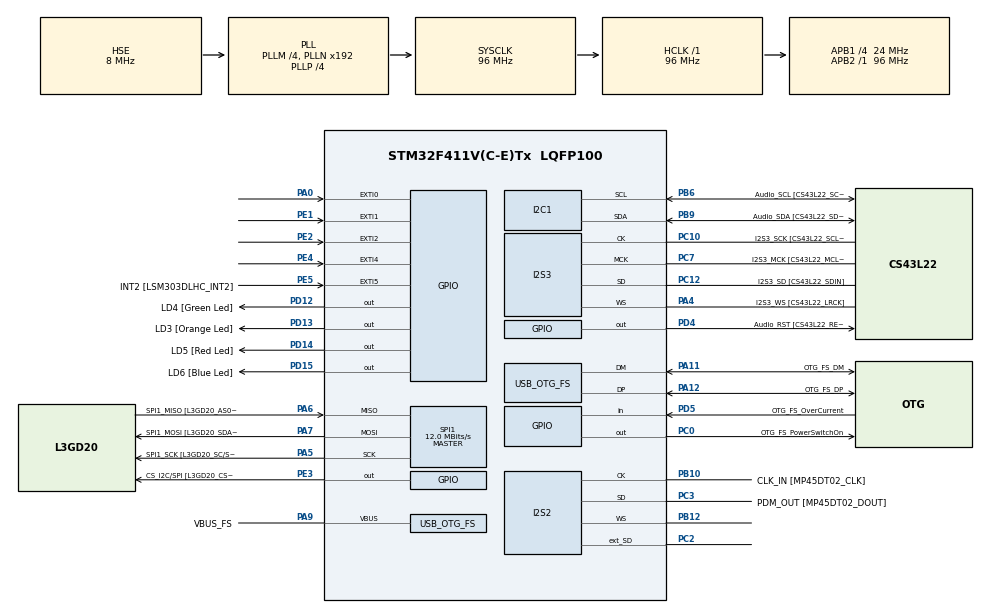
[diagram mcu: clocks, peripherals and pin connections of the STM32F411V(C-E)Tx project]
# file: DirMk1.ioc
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Dma.I2C1_RX.0.Direction=DMA_PERIPH_TO_MEMORY
Dma.I2C1_RX.0.FIFOMode=DMA_FIFOMODE_DISABLE
Dma.I2C1_RX.0.Instance=DMA1_Stream0
Dma.I2C1_RX.0.MemDataAlignment=DMA_MDATAALIGN_BYTE
Dma.I2C1_RX.0.MemInc=DMA_MINC_ENABLE
Dma.I2C1_RX.0.Mode=DMA_NORMAL
Dma.I2C1_RX.0.PeriphDataAlignment=DMA_PDATAALIGN_BYTE
Dma.I2C1_RX.0.PeriphInc=DMA_PINC_DISABLE
Dma.I2C1_RX.0.Priority=DMA_PRIORITY_VERY_HIGH
Dma.Request0=I2C1_RX
Dma.Request1=SPI1_RX
Dma.Request2=SPI1_TX
Dma.SPI1_RX.1.Direction=DMA_PERIPH_TO_MEMORY
Dma.SPI1_RX.1.FIFOMode=DMA_FIFOMODE_DISABLE
Dma.SPI1_RX.1.Instance=DMA2_Stream0
Dma.SPI1_RX.1.MemDataAlignment=DMA_MDATAALIGN_BYTE
Dma.SPI1_RX.1.MemInc=DMA_MINC_ENABLE
Dma.SPI1_RX.1.Mode=DMA_NORMAL
Dma.SPI1_RX.1.PeriphDataAlignment=DMA_PDATAALIGN_BYTE
Dma.SPI1_RX.1.PeriphInc=DMA_PINC_DISABLE
Dma.SPI1_RX.1.Priority=DMA_PRIORITY_HIGH
Dma.SPI1_TX.2.Direction=DMA_MEMORY_TO_PERIPH
Dma.SPI1_TX.2.FIFOMode=DMA_FIFOMODE_DISABLE
Dma.SPI1_TX.2.Instance=DMA2_Stream2
Dma.SPI1_TX.2.MemDataAlignment=DMA_MDATAALIGN_BYTE
Dma.SPI1_TX.2.MemInc=DMA_MINC_ENABLE
Dma.SPI1_TX.2.Mode=DMA_NORMAL
Dma.SPI1_TX.2.PeriphDataAlignment=DMA_PDATAALIGN_BYTE
Dma.SPI1_TX.2.PeriphInc=DMA_PINC_DISABLE
Dma.SPI1_TX.2.Priority=DMA_PRIORITY_HIGH
FREERTOS.INCLUDE_vTaskDelayUntil=1
FREERTOS.Tasks01=defaultTask,0,128,StartDefaultTask,Default,NULL
I2S2.AudioFreq=I2S_AUDIOFREQ_16K
I2S2.ErrorAudioFreq=-0.16 %
I2S2.FullDuplexMode=I2S_FULLDUPLEXMODE_ENABLE
I2S2.Instance=SPI$Index
I2S2.RealAudioFreq=15.974 KHz
I2S2.VirtualMode=I2S_MODE_MASTER
I2S3.ErrorAudioFreq=0.15 %
I2S3.FullDuplexMode=I2S_FULLDUPLEXMODE_DISABLE
I2S3.Instance=SPI$Index
I2S3.RealAudioFreq=8.012 KHz
I2S3.VirtualMode=I2S_MODE_MASTER
Mcu.Family=STM32F4
Mcu.Name=STM32F411V(C-E)Tx
Mcu.Package=LQFP100
NVIC.DMA1_Stream0_IRQn=true\:5\:0\:false\:false\:true\:true\:false
NVIC.DMA2_Stream0_IRQn=true\:5\:0\:false\:false\:true\:true\:false
NVIC.DMA2_Stream2_IRQn=true\:5\:0\:false\:false\:true\:true\:false
NVIC.EXTI1_IRQn=true\:5\:0\:false\:false\:false\:true\:true
NVIC.EXTI2_IRQn=true\:5\:0\:false\:false\:false\:true\:true
NVIC.EXTI4_IRQn=true\:5\:0\:false\:false\:false\:true\:true
NVIC.I2C1_ER_IRQn=true\:5\:0\:false\:false\:true\:true\:true
NVIC.I2C1_EV_IRQn=true\:5\:0\:false\:false\:true\:true\:true
NVIC.OTG_FS_IRQn=true\:5\:0\:false\:false\:true\:true\:true
NVIC.PriorityGroup=NVIC_PRIORITYGROUP_4
NVIC.SPI1_IRQn=true\:5\:0\:false\:false\:true\:true\:true
NVIC.TIM1_TRG_COM_TIM11_IRQn=true\:0\:0\:false\:false\:true\:false\:false
NVIC.TimeBase=TIM1_TRG_COM_TIM11_IRQn
NVIC.TimeBaseIP=TIM11
PA0-WKUP.GPIO_ModeDefaultEXTI=GPIO_MODE_EVT_RISING
PA0-WKUP.Signal=GPXTI0
PA10.GPIO_Label=OTG_FS_ID
PA10.Signal=USB_OTG_FS_ID
PA11.GPIO_Label=OTG_FS_DM
PA11.Mode=Host_Only
PA11.Signal=USB_OTG_FS_DM
PA12.GPIO_Label=OTG_FS_DP
PA12.Mode=Host_Only
PA12.Signal=USB_OTG_FS_DP
PA13.GPIO_Label=SWDIO
PA13.Mode=Serial_Wire
PA13.Signal=SYS_JTMS-SWDIO
PA14.GPIO_Label=SWCLK
PA14.Mode=Serial_Wire
PA14.Signal=SYS_JTCK-SWCLK
PA4.GPIO_Label=I2S3_WS [CS43L22_LRCK]
PA4.GPIO_Mode=GPIO_MODE_AF_PP
PA4.GPIO_PuPd=GPIO_NOPULL
PA4.GPIO_Speed=GPIO_SPEED_FREQ_LOW
PA4.Mode=Half_Duplex_Master
PA4.Signal=I2S3_WS
PA5.GPIO_Label=SPI1_SCK [L3GD20_SC/SPC]
PA5.Mode=Full_Duplex_Master
PA5.Signal=SPI1_SCK
PA6.GPIO_Label=SPI1_MISO [L3GD20_AS0/SDO]
PA6.Mode=Full_Duplex_Master
PA6.Signal=SPI1_MISO
PA7.GPIO_Label=SPI1_MOSI [L3GD20_SDA/SDI/SDO]
PA7.Mode=Full_Duplex_Master
PA7.Signal=SPI1_MOSI
PA9.GPIO_Label=VBUS_FS
PA9.Mode=Activate_VBUS
PA9.Signal=USB_OTG_FS_VBUS
PB10.GPIO_Label=CLK_IN [MP45DT02_CLK]
PB10.Mode=Full_Duplex_Master
PB10.Signal=I2S2_CK
PB12.Mode=Full_Duplex_Master
PB12.Signal=I2S2_WS
PB3.GPIO_Label=SWO
PB3.Signal=SYS_JTDO-SWO
PB6.GPIO_Label=Audio_SCL [CS43L22_SCL]
PB6.GPIO_Mode=GPIO_MODE_AF_OD
PB6.GPIO_PuPd=GPIO_NOPULL
PB6.GPIO_Speed=GPIO_SPEED_FREQ_LOW
PB6.Mode=I2C
PB6.Signal=I2C1_SCL
PB9.GPIO_Label=Audio_SDA [CS43L22_SDA]
PB9.GPIO_Mode=GPIO_MODE_AF_OD
PB9.GPIO_PuPd=GPIO_NOPULL
PB9.GPIO_Speed=GPIO_SPEED_FREQ_LOW
PB9.Mode=I2C
PB9.Signal=I2C1_SDA
PC0.GPIO_Label=OTG_FS_PowerSwitchOn
PC0.PinState=GPIO_PIN_SET
PC0.Signal=GPIO_Output
PC10.GPIO_Label=I2S3_SCK [CS43L22_SCLK]
PC10.GPIO_Mode=GPIO_MODE_AF_PP
PC10.GPIO_PuPd=GPIO_NOPULL
PC10.GPIO_Speed=GPIO_SPEED_FREQ_LOW
PC10.Mode=Half_Duplex_Master
PC10.Signal=I2S3_CK
PC12.GPIO_Label=I2S3_SD [CS43L22_SDIN]
PC12.GPIO_Mode=GPIO_MODE_AF_PP
PC12.GPIO_PuPd=GPIO_NOPULL
PC12.GPIO_Speed=GPIO_SPEED_FREQ_LOW
PC12.Mode=Half_Duplex_Master
PC12.Signal=I2S3_SD
PC14-OSC32_IN.GPIO_Label=PC14-OSC32_IN
PC14-OSC32_IN.Mode=LSE-External-Clock-Source
PC14-OSC32_IN.Signal=RCC_OSC32_IN
PC15-OSC32_OUT.GPIO_Label=PC15-OSC32_OUT
PC15-OSC32_OUT.Mode=LSE-External-Clock-Source
PC15-OSC32_OUT.Signal=RCC_OSC32_OUT
PC2.Mode=Full_Duplex_Master
PC2.Signal=I2S2_ext_SD
PC3.GPIO_Label=PDM_OUT [MP45DT02_DOUT]
PC3.Mode=Full_Duplex_Master
PC3.Signal=I2S2_SD
PC7.GPIO_Label=I2S3_MCK [CS43L22_MCLK]
PC7.GPIO_Mode=GPIO_MODE_AF_PP
PC7.GPIO_PuPd=GPIO_NOPULL
PC7.GPIO_Speed=GPIO_SPEED_FREQ_LOW
PC7.Mode=Master_Clock_Activated
PC7.Signal=I2S3_MCK
PD12.GPIO_Label=LD4 [Green Led]
PD12.GPIO_PuPd=GPIO_NOPULL
PD12.GPIO_Speed=GPIO_SPEED_FREQ_LOW
PD12.Signal=GPIO_Output
PD13.GPIO_Label=LD3 [Orange Led]
PD13.GPIO_PuPd=GPIO_NOPULL
PD13.GPIO_Speed=GPIO_SPEED_FREQ_LOW
PD13.Signal=GPIO_Output
PD14.GPIO_Label=LD5 [Red Led]
PD14.GPIO_PuPd=GPIO_NOPULL
PD14.GPIO_Speed=GPIO_SPEED_FREQ_LOW
PD14.Signal=GPIO_Output
PD15.GPIO_Label=LD6 [Blue Led]
PD15.GPIO_PuPd=GPIO_NOPULL
PD15.GPIO_Speed=GPIO_SPEED_FREQ_LOW
PD15.Signal=GPIO_Output
PD4.GPIO_Label=Audio_RST [CS43L22_RESET]
PD4.Signal=GPIO_Output
PD5.GPIO_Label=OTG_FS_OverCurrent
PD5.Signal=GPIO_Input
PE1.Signal=GPXTI1
PE2.Signal=GPXTI2
PE3.GPIO_Label=CS_I2C/SPI [L3GD20_CS_I2C/SPI]
PE3.Signal=GPIO_Output
PE4.Signal=GPXTI4
PE5.GPIO_Label=INT2 [LSM303DLHC_INT2]
PE5.GPIO_ModeDefaultEXTI=GPIO_MODE_EVT_RISING
PE5.Signal=GPXTI5
PH0\ -\ OSC_IN.GPIO_Label=PH0-OSC_IN
PH0\ -\ OSC_IN.Mode=HSE-External-Oscillator
PH0\ -\ OSC_IN.Signal=RCC_OSC_IN
PH1\ -\ OSC_OUT.GPIO_Label=PH1-OSC_OUT
PH1\ -\ OSC_OUT.Mode=HSE-External-Oscillator
PH1\ -\ OSC_OUT.Signal=RCC_OSC_OUT
ProjectManager.HeapSize=0x200
ProjectManager.StackSize=0x400
ProjectManager.TargetToolchain=SW4STM32
RCC.48MHZClocksFreq_Value=48000000
RCC.AHBFreq_Value=96000000
RCC.APB1CLKDivider=RCC_HCLK_DIV4
RCC.APB1Freq_Value=24000000
RCC.APB1TimFreq_Value=48000000
RCC.APB2Freq_Value=96000000
RCC.APB2TimFreq_Value=96000000
RCC.CortexFreq_Value=96000000
RCC.HCLKFreq_Value=96000000
RCC.HSE_VALUE=8000000
RCC.HSI_VALUE=16000000
RCC.LSE_VALUE=32768
RCC.PLLI2SM=5
RCC.PLLI2SN=200
RCC.PLLM=4
RCC.PLLP=RCC_PLLP_DIV4
RCC.PLLQ=8
RCC.SYSCLKFreq_VALUE=96000000
RCC.SYSCLKSource=RCC_SYSCLKSOURCE_PLLCLK
RCC.VCOOutputFreq_Value=384000000
SPI1.BaudRatePrescaler=SPI_BAUDRATEPRESCALER_8
SPI1.CLKPhase=SPI_PHASE_1EDGE
SPI1.CLKPolarity=SPI_POLARITY_LOW
SPI1.CalculateBaudRate=12.0 MBits/s
SPI1.Direction=SPI_DIRECTION_2LINES
SPI1.FirstBit=SPI_FIRSTBIT_MSB
SPI1.Mode=SPI_MODE_MASTER
SPI1.VirtualType=VM_MASTER
USB_OTG_FS.VirtualMode=Host_Only
USB_OTG_FS.phy_itface=HCD_PHY_EMBEDDED
VP_FREERTOS_VS_ENABLE.Mode=Enabled
VP_SYS_VS_tim11.Mode=TIM11
board=32F411EDISCOVERY

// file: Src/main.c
/* USER CODE BEGIN Header */
/**
  * @brief  Function implementing the defaultTask thread.
  * @param  argument: Not used
  * @retval None
  */
/* USER CODE END Header */

#include "main.h"
#include "cmsis_os.h"

/* USER CODE BEGIN Includes */
#include <math.h>
#include "L3GD20.h"
#include "lsm303dlhc.h"
#include "MadgwickAHRS.h"
#include "IMU_Sensors.h"
#include "Typedef.h"
#include "BNO055.h"

/* USER CODE END Includes */

I2C_HandleTypeDef hi2c1;
DMA_HandleTypeDef hdma_i2c1_rx;

I2S_HandleTypeDef hi2s2;
I2S_HandleTypeDef hi2s3;

SPI_HandleTypeDef hspi1;
DMA_HandleTypeDef hdma_spi1_rx;
DMA_HandleTypeDef hdma_spi1_tx;

HCD_HandleTypeDef hhcd_USB_OTG_FS;

osThreadId defaultTaskHandle;
/* USER CODE BEGIN PV */
/*	KOSTAL SofiaSoft Bulgaria EOOD
 * 	47A Tsarigradsko Shose Blvd.
 *	Sofia 1124
 *	Bulgaria					  */
/* Private variables ---------------------------------------------------------*/
//osThreadId sensorTaskHandle;

volatile float roll, pitch, yaw;
const float PI = 3.1415927;
const uint8_t cCalibrationSamples = 40;
GyroStruct L3GD20Gyro;
AccelStruct LSM303Accel;
//static tI2CSensorReadState eI2CSensorReadState = eSenRead_Idle;
/* USER CODE END PV */

void SystemClock_Config(void);
static void MX_GPIO_Init(void);
static void MX_DMA_Init(void);
static void MX_I2C1_Init(void);
static void MX_SPI1_Init(void);
static void MX_USB_OTG_FS_HCD_Init(void);
static void MX_I2S2_Init(void);
static void MX_I2S3_Init(void);
void StartDefaultTask(void const * argument);

/* USER CODE BEGIN PFP */
/* Private function prototypes -----------------------------------------------*/

static void toEulerAngle(void);
/* USER CODE END PFP */

/* USER CODE BEGIN 0 */

void EXTI2_IRQHandler(void)
{
	__HAL_GPIO_EXTI_CLEAR_IT(GPIO_PIN_2);
}

void EXTI4_IRQHandler(void)
{
	__HAL_GPIO_EXTI_CLEAR_IT(GPIO_PIN_4);
}

static void toEulerAngle(void)
{
//	roll = atan2f(q0*q1 + q2*q3, 0.5f - q1*q1 - q2*q2);
//	pitch = asinf(-2.0f * (q1*q3 - q0*q2));
//	yaw = atan2f(q1*q2 + q0*q3, 0.5f - q2*q2 - q3*q3);

	yaw = atan2f(2.0f*(q1*q2 + q0*q3), q0*q0 + q1*q1 - q2*q2 - q3*q3);
	pitch = -asinf(2.0f * (q1*q3 - q0*q2));
	roll = atan2f(2.0f*(q0*q1 + q2*q3), q0*q0 - q1*q1 - q2*q2 + q3*q3);

    pitch *= 180.0f / PI;
    yaw   *= 180.0f / PI;
    yaw   -= 5.0f; // Declination at Sofia Bulgaria
    roll *= 180.0f / PI;

}

float flGyroXL, flGyroYL, flGyroZL;
float flAccelXL, flAccelYL, flAccelZL;
float flMagnXL, flMagnYL, flMagnZL;

void Madgwick_Task(void *pvParameters)
{
	TickType_t xDelay = 10 / portTICK_PERIOD_MS;
	uint8_t blink = 0;
	//vTaskDelay(500*xDelay);
//	mahony_init();
	boolean bCalibDoneL = cFalse;

	for(;;)
	{
		BNO055_MainFunction();

//		yaw = atan2f(2.0f*(qx*qy + qw*qz), qw*qw + qx*qx - qy*qy - qz*qz);
//		pitch = -asinf(2.0f * (qx*qz - qw*qy));
//		roll = atan2f(2.0f*(qw*qx + qy*qz), qw*qw - qx*qx - qy*qy + qz*qz);
//
//		pitch *= 180.0f / PI;
//		yaw   *= 180.0f / PI;
//		roll *= 180.0f / PI;
//		flMagX = 0;
//		flMagY = 0;
//		flMagZ = 0;

//		MadgwickAHRSupdate(-flAngleX, -flAngleY, flAngleZ,
//				LSM303Accel.flaccelX, LSM303Accel.flaccelY, LSM303Accel.flaccelZ,
//							flMagX, flMagY, flMagZ);
//		mahony_update(flAngleX, flAngleY, flAngleZ,
//						flAccelX, flAccelY, flAccelZ,
//						flMagX, flMagY, flMagZ);
//		flAngleX = 0;
//		flAngleY = 0;
//		flAngleZ = 0;
//		toEulerAngle();

//		if(cTrue != bCalibDoneL)
//		{
//			bCalibDoneL = Sensors_Calibrate();
//		}
//		else
//		{
//			IMU_Sensors_MainFunction();
//
//			IMU_Sensors_GetGyroData(&flGyroXL, &flGyroYL, &flGyroZL);
//			IMU_Sensors_GetAccelData(&flAccelXL, &flAccelYL, &flAccelZL);
//			IMU_Sensors_GetMagnData(&flMagnXL, &flMagnYL, &flMagnZL);
//
////			mahony_update(-flGyroXL, -flGyroYL, flGyroZL,
////					flAccelXL, flAccelYL, flAccelZL,
////					-flMagnXL, -flMagnYL, flMagnZL);
//
//			MadgwickAHRSupdate(-flGyroXL, -flGyroYL, flGyroZL,
//								flAccelXL, flAccelYL, flAccelZL,
//								-flMagnYL, -flMagnXL, -flMagnZL);
//
//			toEulerAngle();
//		}

//		if( 0 == blink )
//		{
//			HAL_GPIO_WritePin(GPIOD, LD4_Pin|LD3_Pin|LD5_Pin|LD6_Pin , GPIO_PIN_SET);
//			blink = 1;
//		}
//		else
//		{
//			HAL_GPIO_WritePin(GPIOD, LD4_Pin|LD3_Pin|LD5_Pin|LD6_Pin , GPIO_PIN_RESET);
//			blink = 0;
//		}

		vTaskDelay(xDelay);
	}
}

/* USER CODE END 0 */

int main(void)
{

  /* MCU Configuration--------------------------------------------------------*/

  /* Reset of all peripherals, Initializes the Flash interface and the Systick. */
  HAL_Init();

  /* Configure the system clock */
  SystemClock_Config();

  /* Initialize all configured peripherals */
  MX_GPIO_Init();
  MX_DMA_Init();
  MX_I2C1_Init();
  MX_SPI1_Init();
  MX_USB_OTG_FS_HCD_Init();
  MX_I2S2_Init();
  MX_I2S3_Init();
  /* USER CODE BEGIN 2 */

  HAL_Delay(500);

  //IMU_Sensors_Init(&hi2c1, &hspi1);
  BNO055_Init(&hi2c1);

  xTaskCreate(Madgwick_Task,
  			  (const char* const)"Madgwick_Task",
  			  configMINIMAL_STACK_SIZE,
  			  0,
  			  2,
  			  0);
  /* USER CODE END 2 */

  /* Create the thread(s) */
  /* definition and creation of defaultTask */
  osThreadDef(defaultTask, StartDefaultTask, osPriorityNormal, 0, 128);
  defaultTaskHandle = osThreadCreate(osThread(defaultTask), NULL);

  /* Start scheduler */
  osKernelStart();

  /* We should never get here as control is now taken by the scheduler */

  /* Infinite loop */
  while (1)
  {

  }
}

void SystemClock_Config(void)
{
  RCC_OscInitTypeDef RCC_OscInitStruct = {0};
  RCC_ClkInitTypeDef RCC_ClkInitStruct = {0};
  RCC_PeriphCLKInitTypeDef PeriphClkInitStruct = {0};

  /**Configure the main internal regulator output voltage
  */
  __HAL_RCC_PWR_CLK_ENABLE();
  __HAL_PWR_VOLTAGESCALING_CONFIG(PWR_REGULATOR_VOLTAGE_SCALE1);
  /**Initializes the CPU, AHB and APB busses clocks
  */
  RCC_OscInitStruct.OscillatorType = RCC_OSCILLATORTYPE_HSE;
  RCC_OscInitStruct.HSEState = RCC_HSE_ON;
  RCC_OscInitStruct.PLL.PLLState = RCC_PLL_ON;
  RCC_OscInitStruct.PLL.PLLSource = RCC_PLLSOURCE_HSE;
  RCC_OscInitStruct.PLL.PLLM = 4;
  RCC_OscInitStruct.PLL.PLLN = 192;
  RCC_OscInitStruct.PLL.PLLP = RCC_PLLP_DIV4;
  RCC_OscInitStruct.PLL.PLLQ = 8;
  if (HAL_RCC_OscConfig(&RCC_OscInitStruct) != HAL_OK)
  {
    Error_Handler();
  }
  /**Initializes the CPU, AHB and APB busses clocks
  */
  RCC_ClkInitStruct.ClockType = RCC_CLOCKTYPE_HCLK|RCC_CLOCKTYPE_SYSCLK
                              |RCC_CLOCKTYPE_PCLK1|RCC_CLOCKTYPE_PCLK2;
  RCC_ClkInitStruct.SYSCLKSource = RCC_SYSCLKSOURCE_PLLCLK;
  RCC_ClkInitStruct.AHBCLKDivider = RCC_SYSCLK_DIV1;
  RCC_ClkInitStruct.APB1CLKDivider = RCC_HCLK_DIV4;
  RCC_ClkInitStruct.APB2CLKDivider = RCC_HCLK_DIV1;

  if (HAL_RCC_ClockConfig(&RCC_ClkInitStruct, FLASH_LATENCY_3) != HAL_OK)
  {
    Error_Handler();
  }
  PeriphClkInitStruct.PeriphClockSelection = RCC_PERIPHCLK_I2S;
  PeriphClkInitStruct.PLLI2S.PLLI2SN = 200;
  PeriphClkInitStruct.PLLI2S.PLLI2SM = 5;
  PeriphClkInitStruct.PLLI2S.PLLI2SR = 2;
  if (HAL_RCCEx_PeriphCLKConfig(&PeriphClkInitStruct) != HAL_OK)
  {
    Error_Handler();
  }
}

static void MX_I2C1_Init(void)
{

  hi2c1.Instance = I2C1;
  hi2c1.Init.ClockSpeed = 100000;
  hi2c1.Init.DutyCycle = I2C_DUTYCYCLE_2;
  hi2c1.Init.OwnAddress1 = 0;
  hi2c1.Init.AddressingMode = I2C_ADDRESSINGMODE_7BIT;
  hi2c1.Init.DualAddressMode = I2C_DUALADDRESS_DISABLE;
  hi2c1.Init.OwnAddress2 = 0;
  hi2c1.Init.GeneralCallMode = I2C_GENERALCALL_DISABLE;
  hi2c1.Init.NoStretchMode = I2C_NOSTRETCH_DISABLE;
  if (HAL_I2C_Init(&hi2c1) != HAL_OK)
  {
    Error_Handler();
  }

}

static void MX_I2S2_Init(void)
{

  hi2s2.Instance = SPI2;
  hi2s2.Init.Mode = I2S_MODE_MASTER_TX;
  hi2s2.Init.Standard = I2S_STANDARD_PHILIPS;
  hi2s2.Init.DataFormat = I2S_DATAFORMAT_16B;
  hi2s2.Init.MCLKOutput = I2S_MCLKOUTPUT_DISABLE;
  hi2s2.Init.AudioFreq = I2S_AUDIOFREQ_16K;
  hi2s2.Init.CPOL = I2S_CPOL_LOW;
  hi2s2.Init.ClockSource = I2S_CLOCK_PLL;
  hi2s2.Init.FullDuplexMode = I2S_FULLDUPLEXMODE_ENABLE;
  if (HAL_I2S_Init(&hi2s2) != HAL_OK)
  {
    Error_Handler();
  }

}

static void MX_I2S3_Init(void)
{

  hi2s3.Instance = SPI3;
  hi2s3.Init.Mode = I2S_MODE_MASTER_TX;
  hi2s3.Init.Standard = I2S_STANDARD_PHILIPS;
  hi2s3.Init.DataFormat = I2S_DATAFORMAT_16B;
  hi2s3.Init.MCLKOutput = I2S_MCLKOUTPUT_ENABLE;
  hi2s3.Init.AudioFreq = I2S_AUDIOFREQ_8K;
  hi2s3.Init.CPOL = I2S_CPOL_LOW;
  hi2s3.Init.ClockSource = I2S_CLOCK_PLL;
  hi2s3.Init.FullDuplexMode = I2S_FULLDUPLEXMODE_DISABLE;
  if (HAL_I2S_Init(&hi2s3) != HAL_OK)
  {
    Error_Handler();
  }

}

static void MX_SPI1_Init(void)
{

  /* SPI1 parameter configuration*/
  hspi1.Instance = SPI1;
  hspi1.Init.Mode = SPI_MODE_MASTER;
  hspi1.Init.Direction = SPI_DIRECTION_2LINES;
  hspi1.Init.DataSize = SPI_DATASIZE_8BIT;
  hspi1.Init.CLKPolarity = SPI_POLARITY_LOW;
  hspi1.Init.CLKPhase = SPI_PHASE_1EDGE;
  hspi1.Init.NSS = SPI_NSS_SOFT;
  hspi1.Init.BaudRatePrescaler = SPI_BAUDRATEPRESCALER_8;
  hspi1.Init.FirstBit = SPI_FIRSTBIT_MSB;
  hspi1.Init.TIMode = SPI_TIMODE_DISABLE;
  hspi1.Init.CRCCalculation = SPI_CRCCALCULATION_DISABLE;
  hspi1.Init.CRCPolynomial = 10;
  if (HAL_SPI_Init(&hspi1) != HAL_OK)
  {
    Error_Handler();
  }

}

static void MX_USB_OTG_FS_HCD_Init(void)
{

  hhcd_USB_OTG_FS.Instance = USB_OTG_FS;
  hhcd_USB_OTG_FS.Init.Host_channels = 8;
  hhcd_USB_OTG_FS.Init.speed = HCD_SPEED_FULL;
  hhcd_USB_OTG_FS.Init.dma_enable = DISABLE;
  hhcd_USB_OTG_FS.Init.phy_itface = HCD_PHY_EMBEDDED;
  hhcd_USB_OTG_FS.Init.Sof_enable = DISABLE;
  if (HAL_HCD_Init(&hhcd_USB_OTG_FS) != HAL_OK)
  {
    Error_Handler();
  }

}

static void MX_DMA_Init(void)
{
  /* DMA controller clock enable */
  __HAL_RCC_DMA1_CLK_ENABLE();
  __HAL_RCC_DMA2_CLK_ENABLE();

  /* DMA interrupt init */
  /* DMA1_Stream0_IRQn interrupt configuration */
  HAL_NVIC_SetPriority(DMA1_Stream0_IRQn, 5, 0);
  HAL_NVIC_EnableIRQ(DMA1_Stream0_IRQn);
  /* DMA2_Stream0_IRQn interrupt configuration */
  HAL_NVIC_SetPriority(DMA2_Stream0_IRQn, 5, 0);
  HAL_NVIC_EnableIRQ(DMA2_Stream0_IRQn);
  /* DMA2_Stream2_IRQn interrupt configuration */
  HAL_NVIC_SetPriority(DMA2_Stream2_IRQn, 5, 0);
  HAL_NVIC_EnableIRQ(DMA2_Stream2_IRQn);

}

static void MX_GPIO_Init(void)
{
  GPIO_InitTypeDef GPIO_InitStruct = {0};

  /* GPIO Ports Clock Enable */
  __HAL_RCC_GPIOE_CLK_ENABLE();
  __HAL_RCC_GPIOC_CLK_ENABLE();
  __HAL_RCC_GPIOH_CLK_ENABLE();
  __HAL_RCC_GPIOA_CLK_ENABLE();
  __HAL_RCC_GPIOB_CLK_ENABLE();
  __HAL_RCC_GPIOD_CLK_ENABLE();

  /*Configure GPIO pin Output Level */
  HAL_GPIO_WritePin(CS_I2C_SPI_GPIO_Port, CS_I2C_SPI_Pin, GPIO_PIN_RESET);

  /*Configure GPIO pin Output Level */
  HAL_GPIO_WritePin(OTG_FS_PowerSwitchOn_GPIO_Port, OTG_FS_PowerSwitchOn_Pin, GPIO_PIN_SET);

  /*Configure GPIO pin Output Level */
  HAL_GPIO_WritePin(GPIOD, LD4_Pin|LD3_Pin|LD5_Pin|LD6_Pin
                          |Audio_RST_Pin, GPIO_PIN_RESET);

  /*Configure GPIO pins : PE2 PE4 PE1 */
  GPIO_InitStruct.Pin = GPIO_PIN_2|GPIO_PIN_4|GPIO_PIN_1;
  GPIO_InitStruct.Mode = GPIO_MODE_IT_RISING;
  GPIO_InitStruct.Pull = GPIO_NOPULL;
  HAL_GPIO_Init(GPIOE, &GPIO_InitStruct);

  /*Configure GPIO pin : CS_I2C_SPI_Pin */
  GPIO_InitStruct.Pin = CS_I2C_SPI_Pin;
  GPIO_InitStruct.Mode = GPIO_MODE_OUTPUT_PP;
  GPIO_InitStruct.Pull = GPIO_NOPULL;
  GPIO_InitStruct.Speed = GPIO_SPEED_FREQ_LOW;
  HAL_GPIO_Init(CS_I2C_SPI_GPIO_Port, &GPIO_InitStruct);

  /*Configure GPIO pin : INT2_Pin */
  GPIO_InitStruct.Pin = INT2_Pin;
  GPIO_InitStruct.Mode = GPIO_MODE_EVT_RISING;
  GPIO_InitStruct.Pull = GPIO_NOPULL;
  HAL_GPIO_Init(INT2_GPIO_Port, &GPIO_InitStruct);

  /*Configure GPIO pin : OTG_FS_PowerSwitchOn_Pin */
  GPIO_InitStruct.Pin = OTG_FS_PowerSwitchOn_Pin;
  GPIO_InitStruct.Mode = GPIO_MODE_OUTPUT_PP;
  GPIO_InitStruct.Pull = GPIO_NOPULL;
  GPIO_InitStruct.Speed = GPIO_SPEED_FREQ_LOW;
  HAL_GPIO_Init(OTG_FS_PowerSwitchOn_GPIO_Port, &GPIO_InitStruct);

  /*Configure GPIO pin : PA0 */
  GPIO_InitStruct.Pin = GPIO_PIN_0;
  GPIO_InitStruct.Mode = GPIO_MODE_EVT_RISING;
  GPIO_InitStruct.Pull = GPIO_NOPULL;
  HAL_GPIO_Init(GPIOA, &GPIO_InitStruct);

  /*Configure GPIO pins : LD4_Pin LD3_Pin LD5_Pin LD6_Pin
                           Audio_RST_Pin */
  GPIO_InitStruct.Pin = LD4_Pin|LD3_Pin|LD5_Pin|LD6_Pin
                          |Audio_RST_Pin;
  GPIO_InitStruct.Mode = GPIO_MODE_OUTPUT_PP;
  GPIO_InitStruct.Pull = GPIO_NOPULL;
  GPIO_InitStruct.Speed = GPIO_SPEED_FREQ_LOW;
  HAL_GPIO_Init(GPIOD, &GPIO_InitStruct);

  /*Configure GPIO pin : OTG_FS_OverCurrent_Pin */
  GPIO_InitStruct.Pin = OTG_FS_OverCurrent_Pin;
  GPIO_InitStruct.Mode = GPIO_MODE_INPUT;
  GPIO_InitStruct.Pull = GPIO_NOPULL;
  HAL_GPIO_Init(OTG_FS_OverCurrent_GPIO_Port, &GPIO_InitStruct);

  /* EXTI interrupt init*/
  HAL_NVIC_SetPriority(EXTI1_IRQn, 5, 0);
  HAL_NVIC_EnableIRQ(EXTI1_IRQn);

  HAL_NVIC_SetPriority(EXTI2_IRQn, 5, 0);
  HAL_NVIC_EnableIRQ(EXTI2_IRQn);

  HAL_NVIC_SetPriority(EXTI4_IRQn, 5, 0);
  HAL_NVIC_EnableIRQ(EXTI4_IRQn);

}

void StartDefaultTask(void const * argument)
{

  /* USER CODE BEGIN 5 */
  /* Infinite loop */
  for(;;)
  {
    osDelay(10000);
  }
  /* USER CODE END 5 */
}

void HAL_TIM_PeriodElapsedCallback(TIM_HandleTypeDef *htim)
{
  if (htim->Instance == TIM11) {
    HAL_IncTick();
  }
}

void Error_Handler(void)
{
  while(1)
  {
  }
}

/************************ (C) COPYRIGHT STMicroelectronics *****END OF FILE****/
